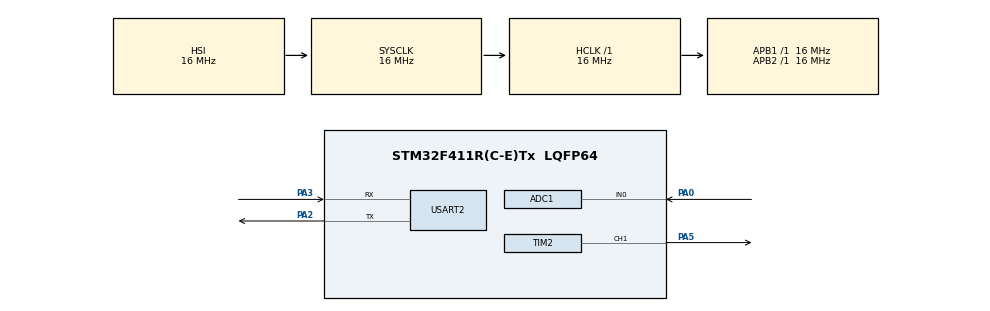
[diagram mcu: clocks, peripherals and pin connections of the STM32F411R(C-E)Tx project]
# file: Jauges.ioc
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ADC1.Channel-0\#ChannelRegularConversion=ADC_CHANNEL_0
ADC1.NbrOfConversionFlag=1
ADC1.Rank-0\#ChannelRegularConversion=1
ADC1.SamplingTime-0\#ChannelRegularConversion=ADC_SAMPLETIME_3CYCLES
ADC1.master=1
Dma.ADC1.0.Direction=DMA_PERIPH_TO_MEMORY
Dma.ADC1.0.FIFOMode=DMA_FIFOMODE_DISABLE
Dma.ADC1.0.Instance=DMA2_Stream0
Dma.ADC1.0.MemDataAlignment=DMA_MDATAALIGN_HALFWORD
Dma.ADC1.0.MemInc=DMA_MINC_ENABLE
Dma.ADC1.0.Mode=DMA_NORMAL
Dma.ADC1.0.PeriphDataAlignment=DMA_PDATAALIGN_HALFWORD
Dma.ADC1.0.PeriphInc=DMA_PINC_DISABLE
Dma.ADC1.0.Priority=DMA_PRIORITY_LOW
Dma.Request0=ADC1
Mcu.Family=STM32F4
Mcu.Name=STM32F411R(C-E)Tx
Mcu.Package=LQFP64
NVIC.DMA2_Stream0_IRQn=true\:0\:0\:false\:false\:true\:false\:true\:true
NVIC.PriorityGroup=NVIC_PRIORITYGROUP_4
NVIC.USART2_IRQn=true\:0\:0\:false\:false\:true\:true\:true\:true
PA0-WKUP.Signal=ADCx_IN0
PA2.Mode=Asynchronous
PA2.Signal=USART2_TX
PA3.Mode=Asynchronous
PA3.Signal=USART2_RX
PA5.Signal=S_TIM2_CH1_ETR
ProjectManager.HeapSize=0x200
ProjectManager.StackSize=0x400
ProjectManager.TargetToolchain=STM32CubeIDE
RCC.AHBFreq_Value=16000000
RCC.APB1Freq_Value=16000000
RCC.APB2Freq_Value=16000000
RCC.CortexFreq_Value=16000000
RCC.HSE_VALUE=25000000
RCC.HSI_VALUE=16000000
RCC.LSE_VALUE=32768
RCC.SYSCLKFreq_VALUE=16000000
RCC.VCOOutputFreq_Value=192000000
SH.ADCx_IN0.0=ADC1_IN0,IN0
SH.S_TIM2_CH1_ETR.0=TIM2_CH1,PWM Generation1 CH1
TIM2.AutoReloadPreload=TIM_AUTORELOAD_PRELOAD_ENABLE
TIM2.Channel-PWM\ Generation1\ CH1=TIM_CHANNEL_1
TIM2.Period=200
TIM2.Prescaler=1599
USART2.VirtualMode=VM_ASYNC
board=custom

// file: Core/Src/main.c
/* USER CODE BEGIN Header */
/**
 ******************************************************************************
 * @file           : main.c
 * @brief          : Main program body
 ******************************************************************************
 * @attention
 *
 * Copyright (c) 2024 STMicroelectronics.
 * All rights reserved.
 *
 * This software is licensed under terms that can be found in the LICENSE file
 * in the root directory of this software component.
 * If no LICENSE file comes with this software, it is provided AS-IS.
 *
 ******************************************************************************
 */
/* USER CODE END Header */
#include "main.h"
/* USER CODE BEGIN Includes */
#include <stdarg.h>
#include "util.h"    // Si tu déclares str2num, num2str, etc. ici

/* USER CODE END Includes */
/* USER CODE BEGIN PTD */
#define RING_BUF_SIZE	60
typedef volatile struct RingBuffer {
	char buf[RING_BUF_SIZE];
	int  i_push;		/* pointeur (index) d'écriture */
	int  i_pop;		/* pointeur (index) de lecture */
} RingBuffer;
static RingBuffer rx_buf = {
	.i_push=0,
	.i_pop=0
};
#define buffSize 		100
typedef volatile struct Buffer {
	int buff[buffSize][3];
	int index;
	int size;
} Buffer;
/* USER CODE END PTD */
/* USER CODE BEGIN PD */
#define ADC_SIZE 		1
#define txBufSendLEN 	1000 	// Taille buffer d'envoi des données
#define txBufReceiveLEN 10 		// Taille buffer de reception des données
#define ANGLE_MIN -90				// Angle minimal du servo moteur
#define ANGLE_MAX 180		// Angle maximal du servo moteur
#define L 0.3					// Longueur de la lame en mètres
#define B 0.03					// Largeur de la lame en mètres
#define H 0.003 				// Epaisseur de la lame en mètres
#define Eb 5					// Tension du pont de wheatstone
#define Gf 2					// Facteur de gauge (selon la documentation)
#define E 210000000000			// Module de Young de la lame en aluminium
#define g 9.81					// Constante de gravitée
#define correction 2.516			// Tension de correction
uint8_t VmIndex = 0; // Indice pour ajouter les nouvelles valeurs dans le tableau
uint16_t Vm;
/* USER CODE END PD */
ADC_HandleTypeDef hadc1;
DMA_HandleTypeDef hdma_adc1;
TIM_HandleTypeDef htim1;
TIM_HandleTypeDef htim2;
UART_HandleTypeDef huart2;
/* USER CODE BEGIN PV */
//Buffers
char txBufSend[txBufSendLEN];    				//envoi des données
char txBufReceive[txBufReceiveLEN];    			//reception des données
volatile uint32_t adcResultsDMA[ADC_SIZE];    	//récupération des valeur du DMA
int mode=2, servoMode=0, servoPos=0;
char commande[3][33];							//3 listes de 19 char
Buffer bufferCom = {    						//Buffer d'écriture permettant de ne pas envoyer des données en interruptions
		.index = 0,
		.size = buffSize
};
/* USER CODE END PV */
void SystemClock_Config(void);
static void MX_GPIO_Init(void);
static void MX_DMA_Init(void);
static void MX_ADC1_Init(void);
static void MX_USART2_UART_Init(void);
static void MX_TIM2_Init(void);
int put_char(char);
void term_printf_stlink(const char* fmt, ...);
/* USER CODE BEGIN PFP */
void HAL_UART_RxCpltCallback(UART_HandleTypeDef *huart);
float servo_writeAngle(int angle);
void computeData(const char* data);
int Angle(float masse);
float Masse(float v);
/* USER CODE END PFP */
#define per_deg 5.55  // pulse for 1° Rotation
uint16_t Vm;
char msg[555];
int main(void)
{
 /* MCU Configuration--------------------------------------------------------*/
 /* Reset of all peripherals, Initializes the Flash interface and the Systick. */
 HAL_Init();
 /* USER CODE BEGIN Init */
 HAL_MspInit();
 /* USER CODE END Init */
 /* Configure the system clock */
 SystemClock_Config();
 /* USER CODE BEGIN SysInit */
 /* USER COD 0E END SysInit */
 /* Initialize all configured peripherals */
 MX_GPIO_Init();
 MX_DMA_Init();
 MX_ADC1_Init();
 MX_USART2_UART_Init();
 MX_TIM2_Init();
 /* USER CODE BEGIN 2 */
 HAL_TIM_PWM_Start(&htim2, TIM_CHANNEL_1);
 HAL_TIM_Base_Start_IT(&htim2);
 /* USER CODE END 2 */
 /* Infinite loop */
 /* USER CODE BEGIN WHILE */
 float tension;
 float masse;
 float deformation;
 float force;
 float f;
 float h;
 while (1) {
     HAL_ADC_Start(&hadc1);
     //Attends la fin de la conversion pour Vm
     HAL_ADC_PollForConversion(&hadc1, 10);
     // Lit la valeur brute de l'ADC (12 bits)
     Vm = HAL_ADC_GetValue(&hadc1);
     // Conversion de la valeur brute d'ADC en tension
     tension = ((float)Vm / 4095.0) * 3.3 ;

     // Arrête l'ADC pour Vm
     HAL_ADC_Stop(&hadc1);
     // Calcul des différentes variables
     masse = Masse(tension); 						// Calculer la masse en g
     deformation = (tension) / (Gf * Eb); 			// Calculer la déformation
     force = masse*0.001*g;						//Calcul de la force*
     h = (tension-2)*100;
     // Affichage sur l'IHM
     sprintf(msg, "V: %f\r\n", tension);
     HAL_UART_Transmit(&huart2, (uint8_t*)msg, strlen(msg), HAL_MAX_DELAY);
     // Affichage et transmission de la masse équivalente
     sprintf(msg, "M: %f\r\n", masse);
     HAL_UART_Transmit(&huart2, (uint8_t*)msg, strlen(msg), HAL_MAX_DELAY);
    // sprintf(msg, "h: %f\r\n", h);
    // HAL_UART_Transmit(&huart2, (uint8_t*)msg, strlen(msg), HAL_MAX_DELAY);
     // Affichage et transmission de la déformation
     sprintf(msg, "D: %f\r\n", deformation);
     HAL_UART_Transmit(&huart2, (uint8_t*)msg, strlen(msg), HAL_MAX_DELAY);
	  // Affichage et transmission de l'effort sur l'IHM
     sprintf(msg,"F:%f\r\n",force);
     HAL_UART_Transmit(&huart2, (uint8_t*)msg, strlen(msg), HAL_MAX_DELAY);
     // Attente de 1 seconde
     HAL_Delay(45);
	  if (mode == 1) {  								// Mode manuel
	      float duty = servo_writeAngle(servoPos);  	// Calcul du duty cycle
	      htim2.Instance->CCR1 = duty;  				// Appliquer le duty cycle
	  }
	  else if (mode == 2) {  							// Mode automatique
		  int angleAuto = Angle(masse);	  				// Calculer l'angle du servomoteur en fonction de la masse
	      sprintf(msg,"A:%i\r\n",angleAuto);		// Affichage de l'angle sur l'IHM
	      HAL_UART_Transmit(&huart2, (uint8_t*)msg, strlen(msg), HAL_MAX_DELAY);
	      // Calculer le duty cycle en fonction de l'angle
	      float duty = servo_writeAngle(angleAuto);
	      htim2.Instance->CCR1 = duty;  // Appliquer le duty cycle
	      // Envoyer l'angle actuel via UART pour la synchronisation avec le frontend
	      term_printf_stlink("%d\r\n", angleAuto);
	  }
 }
}
float Masse(float v) {
    const float facteur_calibration = 7.0;
    static float tensions[5] = {0};  // Mémoire persistante
    static int index = 0;
    static int rempli = 0;

    float K, somme = 0.0;

    // Mise à 0 de la tension
    v -= correction;

    // Stocker la nouvelle valeur
    tensions[index] = v;
    index = (index + 1) % 5;

    // Savoir combien de valeurs valides on a
    int n = (rempli < 5) ? ++rempli : 5;

    // Calcul de la constante K
    K = (6 * Eb * Gf) / (E * B * H * H);

    // Calcul de la masse moyenne
    for (int i = 0; i < n; i++) {
        float masse_i = (tensions[i] / (K * L * g)) * facteur_calibration;
        somme += masse_i;
    }

    return somme / n;
}

int Angle(float masse) {
    float angle = masse;
    return (int)angle;
}
/*
float servo_writeAngle(int angle) {
   // Convertion de l'angle de la plage [0,180] vers [-90,90]
   angle = angle - 90;
   if (angle < ANGLE_MIN) {
   	angle = ANGLE_MIN;	// Si angle min atteind alors angle = angle min
   }
   if (angle > ANGLE_MAX) {
   	angle = ANGLE_MAX;	// Si angle max atteind alors angle = angle max
   }
   // Création de la commande du moteur via le duty
   //float duty = CCR_MIN + (((float)(angle - ANGLE_MIN) / (ANGLE_MAX - ANGLE_MIN)) * (CCR_MAX - CCR_MIN));
   float duty = 1.0 + (((angle + 90) / 109.0) * 1.0);
   float ticks = duty * 10.0;                         // conversion ms → ticks (100 µs par tick)
   return ticks;
   //float duty = angle;
   //return duty;
}
*/
float servo_writeAngle(int angle) {
    if (angle < -90) angle = -90;
    if (angle > 180) angle = 180;

    // Conversion angle [-90, 90] → duty [1.0 ms, 2.0 ms]
    float duty = 1.5 + ((float)angle / 180.0);  // linéaire autour de 1.5 ms
    float ticks = duty * 10.0; // conversion ms → ticks (100 µs par tick)
    return ticks;
}

void computeData(const char* data) {
   char buffer[50];  // Taille suffisante pour contenir la chaîne
   strncpy(buffer, data, sizeof(buffer));
   buffer[sizeof(buffer) - 1] = '\0';  // Sécurité : forcer la terminaison nulle
   char* token = strtok(buffer, ",");
   int i = 0;
   while (token && i < 2) {
       strcpy(commande[i], token);
       i++;
       token = strtok(NULL, ",");
   }
   mode = atoi(commande[0]);  // Premier paramètre : mode
   if (i > 1) {  // Deuxième paramètre : angle manuel
       int angle = atoi(commande[1]);
       if (angle >= ANGLE_MIN && angle <= ANGLE_MAX) {
           servoPos = angle;
       }
   }
}
void SystemClock_Config(void)
{
 RCC_OscInitTypeDef RCC_OscInitStruct = {0};
 RCC_ClkInitTypeDef RCC_ClkInitStruct = {0};
 /** Configure the main internal regulator output voltage
 */
 __HAL_RCC_PWR_CLK_ENABLE();
 __HAL_PWR_VOLTAGESCALING_CONFIG(PWR_REGULATOR_VOLTAGE_SCALE1);
 /** Initializes the RCC Oscillators according to the specified parameters
 * in the RCC_OscInitTypeDef structure.
 */
 RCC_OscInitStruct.OscillatorType = RCC_OSCILLATORTYPE_HSI;
 RCC_OscInitStruct.HSIState = RCC_HSI_ON;
 RCC_OscInitStruct.HSICalibrationValue = RCC_HSICALIBRATION_DEFAULT;
 RCC_OscInitStruct.PLL.PLLState = RCC_PLL_NONE;
 if (HAL_RCC_OscConfig(&RCC_OscInitStruct) != HAL_OK)
 {
   Error_Handler();
 }
 /** Initializes the CPU, AHB and APB buses clocks
 */
 RCC_ClkInitStruct.ClockType = RCC_CLOCKTYPE_HCLK|RCC_CLOCKTYPE_SYSCLK
                             |RCC_CLOCKTYPE_PCLK1|RCC_CLOCKTYPE_PCLK2;
 RCC_ClkInitStruct.SYSCLKSource = RCC_SYSCLKSOURCE_HSI;
 RCC_ClkInitStruct.AHBCLKDivider = RCC_SYSCLK_DIV1;
 RCC_ClkInitStruct.APB1CLKDivider = RCC_HCLK_DIV1;
 RCC_ClkInitStruct.APB2CLKDivider = RCC_HCLK_DIV1;
 if (HAL_RCC_ClockConfig(&RCC_ClkInitStruct, FLASH_LATENCY_0) != HAL_OK)
 {
   Error_Handler();
 }
}
static void MX_ADC1_Init(void)
{
 ADC_ChannelConfTypeDef sConfig = {0};
 /** Configure the global features of the ADC (Clock, Resolution, Data Alignment and number of conversion)
 */
 hadc1.Instance = ADC1;
 hadc1.Init.ClockPrescaler = ADC_CLOCK_SYNC_PCLK_DIV2;
 hadc1.Init.Resolution = ADC_RESOLUTION_12B;
 hadc1.Init.ScanConvMode = DISABLE;
 hadc1.Init.ContinuousConvMode = DISABLE;
 hadc1.Init.DiscontinuousConvMode = DISABLE;
 hadc1.Init.ExternalTrigConvEdge = ADC_EXTERNALTRIGCONVEDGE_NONE;
 hadc1.Init.ExternalTrigConv = ADC_SOFTWARE_START;
 hadc1.Init.DataAlign = ADC_DATAALIGN_RIGHT;
 hadc1.Init.NbrOfConversion = 1;
 hadc1.Init.DMAContinuousRequests = DISABLE;
 hadc1.Init.EOCSelection = ADC_EOC_SINGLE_CONV;
 if (HAL_ADC_Init(&hadc1) != HAL_OK)
 {
   Error_Handler();
 }
 /** Configure for the selected ADC regular channel its corresponding rank in the sequencer and its sample time.
 */
 sConfig.Channel = ADC_CHANNEL_0;
 sConfig.Rank = 1;
 sConfig.SamplingTime = ADC_SAMPLETIME_3CYCLES;
 if (HAL_ADC_ConfigChannel(&hadc1, &sConfig) != HAL_OK)
 {
   Error_Handler();
 }
}
static void MX_TIM2_Init(void)
{
 TIM_MasterConfigTypeDef sMasterConfig = {0};
 TIM_OC_InitTypeDef sConfigOC = {0};
 htim2.Instance = TIM2;
 htim2.Init.Prescaler = 1599;
 htim2.Init.CounterMode = TIM_COUNTERMODE_UP;
 htim2.Init.Period = 200;
 htim2.Init.ClockDivision = TIM_CLOCKDIVISION_DIV1;
 htim2.Init.AutoReloadPreload = TIM_AUTORELOAD_PRELOAD_ENABLE;
 if (HAL_TIM_PWM_Init(&htim2) != HAL_OK)
 {
   Error_Handler();
 }
 sMasterConfig.MasterOutputTrigger = TIM_TRGO_RESET;
 sMasterConfig.MasterSlaveMode = TIM_MASTERSLAVEMODE_DISABLE;
 if (HAL_TIMEx_MasterConfigSynchronization(&htim2, &sMasterConfig) != HAL_OK)
 {
   Error_Handler();
 }
 sConfigOC.OCMode = TIM_OCMODE_PWM1;
 sConfigOC.Pulse = 0;
 sConfigOC.OCPolarity = TIM_OCPOLARITY_HIGH;
 sConfigOC.OCFastMode = TIM_OCFAST_DISABLE;
 if (HAL_TIM_PWM_ConfigChannel(&htim2, &sConfigOC, TIM_CHANNEL_1) != HAL_OK)
 {
   Error_Handler();
 }
 HAL_TIM_MspPostInit(&htim2);
}
static void MX_USART2_UART_Init(void)
{
 huart2.Instance = USART2;
 huart2.Init.BaudRate = 115200;
 huart2.Init.WordLength = UART_WORDLENGTH_8B;
 huart2.Init.StopBits = UART_STOPBITS_1;
 huart2.Init.Parity = UART_PARITY_NONE;
 huart2.Init.Mode = UART_MODE_TX_RX;
 huart2.Init.HwFlowCtl = UART_HWCONTROL_NONE;
 huart2.Init.OverSampling = UART_OVERSAMPLING_16;
 if (HAL_UART_Init(&huart2) != HAL_OK)
 {
   Error_Handler();
 }
 HAL_UART_Receive_IT(&huart2, (uint8_t *)txBufReceive, 1);
}
static void MX_DMA_Init(void)
{
 /* DMA controller clock enable */
 __HAL_RCC_DMA2_CLK_ENABLE();
 /* DMA interrupt init */
 /* DMA2_Stream0_IRQn interrupt configuration */
 HAL_NVIC_SetPriority(DMA2_Stream0_IRQn, 0, 0);
 HAL_NVIC_EnableIRQ(DMA2_Stream0_IRQn);
}
static void MX_GPIO_Init(void)
{
	GPIO_InitTypeDef GPIO_InitStruct = {0};
 /* GPIO Ports Clock Enable */
	 __HAL_RCC_GPIOA_CLK_ENABLE();
 	 GPIO_InitStruct.Pin = GPIO_PIN_5;
    GPIO_InitStruct.Mode = GPIO_MODE_AF_PP;
    GPIO_InitStruct.Pull = GPIO_NOPULL;
    GPIO_InitStruct.Speed = GPIO_SPEED_FREQ_LOW;
    GPIO_InitStruct.Alternate = GPIO_AF1_TIM2;
    HAL_GPIO_Init(GPIOA, &GPIO_InitStruct);
 	 GPIO_InitStruct.Pin = GPIO_PIN_0;
    GPIO_InitStruct.Mode = GPIO_MODE_ANALOG;
    GPIO_InitStruct.Pull = GPIO_NOPULL;
    GPIO_InitStruct.Speed = GPIO_SPEED_FREQ_LOW;
    HAL_GPIO_Init(GPIOA, &GPIO_InitStruct);
}
/* USER CODE BEGIN 4 */
int put_char(char ch)
{
	HAL_UART_Transmit(&huart2, (uint8_t *)&ch, 1, 0xFFFF);
	return 0;
}
int putchar_stlink(char ch)
{
	HAL_UART_Transmit(&huart2, (uint8_t *)&ch, 1, 0xFFFF);
	return 0;
}
//=================================================================
//	Helper Functions and Buffer Management
//=================================================================
// Add data to the buffer
static void add_to_buffer(char data) {
   // Check if buffer is not full
   if ((rx_buf.i_push + 1) % RING_BUF_SIZE != rx_buf.i_pop) {
       // Add character to the buffer
       rx_buf.buf[rx_buf.i_push] = data;
       // Increment write index
       rx_buf.i_push = (rx_buf.i_push + 1) % RING_BUF_SIZE;
   }
}
// Clear the buffer
static void clear_buffer() {
   // Reset both read and write indices
   rx_buf.i_push = 0;
   rx_buf.i_pop = 0;
}
void put_string_stlink(char* s)
{
	while(*s != '\0')
	{
		putchar_stlink(*s);
		s++;
	}
}
void term_printf_stlink(const char* fmt, ...)
{
	va_list        ap;
	char          *p;
	char           ch;
	unsigned long  ul;
	unsigned long  size;
	unsigned int   sp;
	char           s[34];
	va_start(ap, fmt);
	while (*fmt != '\0') {
		if (*fmt =='%') {
			size=0; sp=1;
			if (*++fmt=='0') {fmt++; sp=0;}	// parse %04d --> sp=0
			ch=*fmt;
			if ((ch>'0') && (ch<='9')) {	// parse %4 d --> size=4
				char tmp[10];
				int i=0;
				while ((ch>='0') && (ch<='9')) {
					tmp[i++]=ch;
					ch=*++fmt;
				}
				tmp[i]='\0';
				size=str2num(tmp,10);
			}
			switch (ch) {
				case '%':
					 putchar_stlink('%');
					break;
				case 'c':
					ch = va_arg(ap, int);
					putchar_stlink(ch);
					break;
				case 's':
					p = va_arg(ap, char *);
					put_string_stlink(p);
					break;
				case 'd':
					ul = va_arg(ap, long);
					if ((long)ul < 0) {
						putchar_stlink('-');
						ul = -(long)ul;
						//size--;
					}
					num2str(s, ul, 10, size, sp);
					put_string_stlink(s);
					break;
				case 'u':
					ul = va_arg(ap, unsigned int);
					num2str(s, ul, 10, size, sp);
					put_string_stlink(s);
					break;
				case 'o':
					ul = va_arg(ap, unsigned int);
					num2str(s, ul, 8, size, sp);
					put_string_stlink(s);
					break;
				case 'p':
					putchar_stlink('0');
					putchar_stlink('x');
					ul = va_arg(ap, unsigned int);
					num2str(s, ul, 16, size, sp);
					put_string_stlink(s);
					break;
				case 'x':
					ul = va_arg(ap, unsigned int);
					num2str(s, ul, 16, size, sp);
					put_string_stlink(s);
					break;
				case 'f':
				    // Récupérer l'argument au format IEEE 754 (32 bits)
				    unsigned long ull = va_arg(ap, unsigned long);
				    // Extraire le signe, l'exposant, et la mantisse
				    int sign = (ull & 0x80000000) >> 31; // Bit de signe
				    int e = (ull & 0x7F800000) >> 23;    // Exposant (biaisé de 127)
				    int m = (ull & 0x007FFFFF);          // Mantisse
				    // Normaliser la mantisse
				    float mf = (float)m / 8388608.0; // Division par 2^23
				    mf += 1.0; // Ajout de 1 pour la normalisation
				    // Calcul de la valeur finale
				    e -= 127; // Suppression du biais de l'exposant
				    // Calcul de la puissance de 2 manuellement
				    float factor = 1.0;
				    if (e > 0) {
				        for (int i = 0; i < e; i++) {
				            factor *= 2.0; // Multiplication par 2 pour e > 0
				        }
				    } else if (e < 0) {
				        for (int i = 0; i < -e; i++) {
				            factor /= 2.0; // Division par 2 pour e < 0
				        }
				    }
				    // Calcul de la valeur réelle
				    float f = mf * factor; // Mantisse * 2^e
				    if (sign == 1) f = -f; // Ajout du signe
				    // Conversion en chaîne avec précision de 5 chiffres après la virgule
				    float2str((char *)s, f, 5);
				    // Afficher la chaîne résultante
				    put_string_stlink((char *)s);
				    break;
				default:
					putchar_stlink(*fmt);
			}
		} else putchar_stlink(*fmt);
		fmt++;
	}
	va_end(ap);
}
//fonction callback de réception de données sur le port série
void HAL_UART_RxCpltCallback(UART_HandleTypeDef *huart){
	HAL_UART_Receive_IT(&huart2, (uint8_t *)txBufReceive, 1);
	char car_received= (char)txBufReceive[0];
	//char 'e' mean end of commande
	if(car_received == 'e'){
		rx_buf.buf[rx_buf.i_push] = '\0';
		computeData((char*)rx_buf.buf);
		clear_buffer();
	}else{
		add_to_buffer(car_received);
	}
}
/* USER CODE END 4 */
void Error_Handler(void)
{
 __disable_irq();
 while (1)
 {
 }
}
